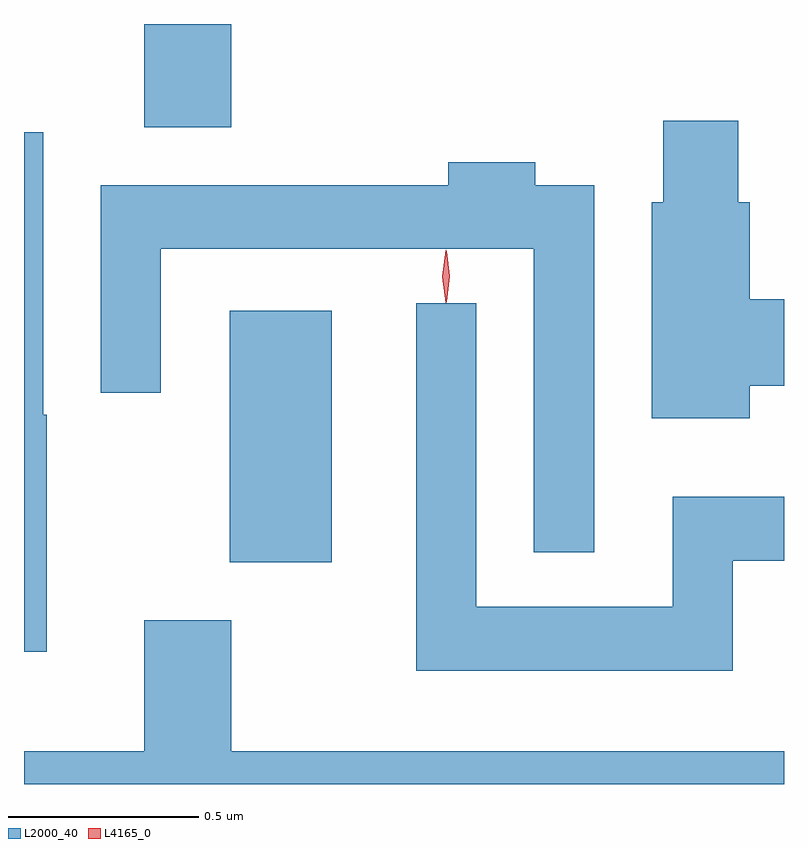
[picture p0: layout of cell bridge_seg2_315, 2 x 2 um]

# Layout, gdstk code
import gdstk
lib = gdstk.Library(unit=1e-6, precision=1e-09)
def R(c, l, rs):  # rectangles x0, y0, x1, y1
    for r in rs: c.add(gdstk.rectangle(r[:2], r[2:], *l))
def P(c, l, *ps):  # polygons
    for p in ps: c.add(gdstk.Polygon(p, *l))
L2000_40 = (2000, 40)
L4165_0 = (4165, 0)

bridge_seg2_315 = lib.new_cell('bridge_seg2_315')
R(bridge_seg2_315, L2000_40, [(428.386,1084.601,428.654,1085.264), (428.161,1085.746,428.389,1086.018)])
P(bridge_seg2_315, L2000_40, [(429.754,1085.066),(429.844,1085.066),(429.844,1085.294),(429.754,1085.294),(429.754,1085.549),(429.724,1085.549),(429.724,1085.764),(429.526,1085.764),(429.526,1085.549),(429.496,1085.549),(429.496,1084.981),(429.754,1084.981)],
  [(427.904,1084.99),(427.894,1084.99),(427.894,1085.733),(427.844,1085.733),(427.844,1084.366),(427.904,1084.366)],
  [(429.344,1085.594),(429.189,1085.594),(429.189,1085.654),(428.961,1085.654),(428.961,1085.594),(428.046,1085.594),(428.046,1085.048),(428.204,1085.048),(428.204,1085.426),(429.186,1085.426),(429.186,1084.628),(429.344,1084.628)],
  [(429.709,1084.606),(429.844,1084.606),(429.844,1084.774),(429.551,1084.774),(429.551,1084.484),(429.034,1084.484),(429.034,1085.283),(428.876,1085.283),(428.876,1084.316),(429.709,1084.316)],
  [(429.844,1084.104),(428.389,1084.104),(428.389,1084.449),(428.161,1084.449),(428.161,1084.104),(427.844,1084.104),(427.844,1084.018),(429.844,1084.018)])
P(bridge_seg2_315, L4165_0, [(428.954,1085.284),(428.945,1085.353),(428.954,1085.422),(428.955,1085.423),(428.955,1085.422),(428.965,1085.353),(428.955,1085.284),(428.955,1085.284)],
  [(428.954,1085.287),(428.945,1085.354),(428.954,1085.42),(428.955,1085.421),(428.956,1085.42),(428.965,1085.354),(428.956,1085.287),(428.955,1085.287)])

lib.write_gds('bridge_seg2_315.gds')
